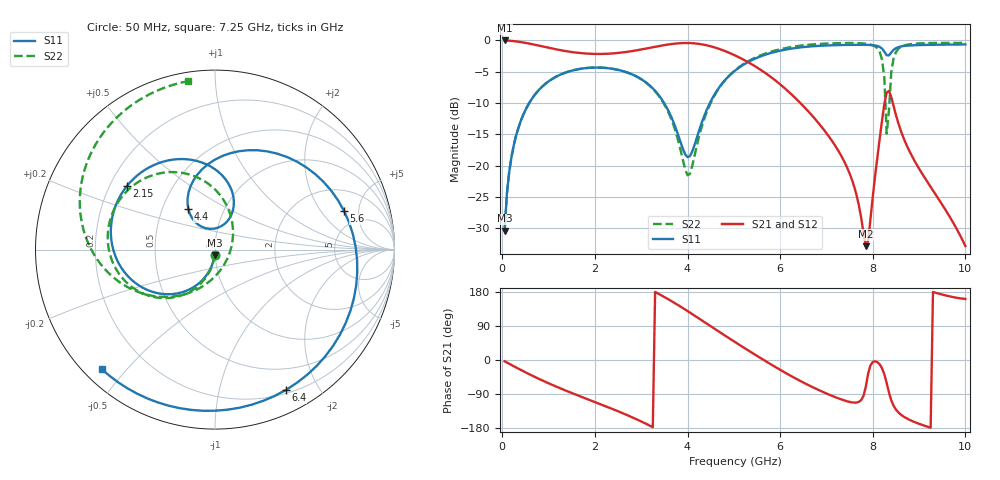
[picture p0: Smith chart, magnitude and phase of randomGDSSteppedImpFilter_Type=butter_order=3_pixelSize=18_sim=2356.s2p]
! freq	dB(S11)	phase(S11)	dB(S12)	phase(S12)
!  dB(S21)	phase(S21)	dB(S22)	phase(S22)
!S-par simulation data
#  GHz  S  DB  R 50
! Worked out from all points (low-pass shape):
!   200 points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, 50 MHz to 10 GHz, reference 50 ohm
!   highest |S21| = -0.01 dB at 50 MHz (marker M1); lowest = -32.9 dB at 7.85 GHz (marker M2)
!   |S21| within 3 dB of the highest: start of sweep to 5.192 GHz
!   lowest |S11| = -30.4 dB at 50 MHz (marker M3), VSWR 1.06, Z = 49.7 - j2.99 ohm
!   |S11| at or under -10 dB: start of sweep to 582.7 MHz; 3.493 GHz to 4.484 GHz (990.9 MHz wide, 24.8 % of centre)
!   |S22| runs from -30.4 to -0.4 dB; largest |S21 - S12| = 0
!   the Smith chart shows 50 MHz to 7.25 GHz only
!   S11 on the Smith chart (normalised r, x): 50 MHz: 0.99, -0.06; 2.15 GHz: 0.27, +0.30; 4.4 GHz: 0.68, +0.33; 5.6 GHz: 3.51, +3.44; 6.4 GHz: 0.24, -1.60; 7.25 GHz: 0.05, -0.43
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0.05  -30.43 -93.6  -0.01 -3.4  -0.01 -3.4  -30.42 -93.3
0.2  -18.55 -104.4  -0.08 -13.3  -0.08 -13.3  -18.54 -103.1
0.5  -11.12 -124.6  -0.39 -32.5  -0.39 -32.5  -11.12 -121.4
1.75  -4.47 164.7  -2.07 -99.1  -2.07 -99.1  -4.47 176.2
2.15  -4.36 144.3  -2.16 -118.1  -2.16 -118.1  -4.36 158.8
3.4  -8.97 75.9  -0.88 173.0  -0.88 173.0  -9.08 92.8
4  -18.66 92.9  -0.42 129.2  -0.42 129.2  -21.55 -12.9
4.4  -11.35 123.3  -0.76 97.2  -0.76 97.2  -11.74 -117.0
5.05  -4.68 71.7  -2.48 45.4  -2.48 45.4  -4.63 -164.7
5.6  -2.49 16.5  -4.80 3.4  -4.80 3.4  -2.32 167.0
6  -1.64 -24.3  -7.02 -25.9  -7.02 -25.9  -1.41 149.0
6.4  -1.15 -63.2  -9.73 -53.1  -9.73 -53.1  -0.88 132.3
6.7  -0.94 -90.0  -12.10 -71.7  -12.10 -71.7  -0.64 120.4
7.25  -0.75 -133.3  -17.55 -100.9  -17.55 -100.9  -0.44 99.2
7.85  -0.71 -174.3  -32.88 -70.3  -32.88 -70.3  -0.53 72.6
8.2  -1.32 160.8  -12.80 -21.7  -12.80 -21.7  -3.06 34.8
8.3  -2.37 158.1  -8.33 -60.7  -8.33 -60.7  -14.90 23.7
8.35  -2.39 160.7  -8.07 -85.9  -8.07 -85.9  -11.12 120.7
8.45  -1.50 158.5  -10.51 -120.8  -10.51 -120.8  -2.85 101.0
8.65  -0.92 145.9  -15.32 -148.0  -15.32 -148.0  -0.88 76.8
9.3  -0.70 110.1  -23.98 179.5  -23.98 179.5  -0.41 46.2
10  -0.64 74.8  -32.87 161.1  -32.87 161.1  -0.40 22.8
